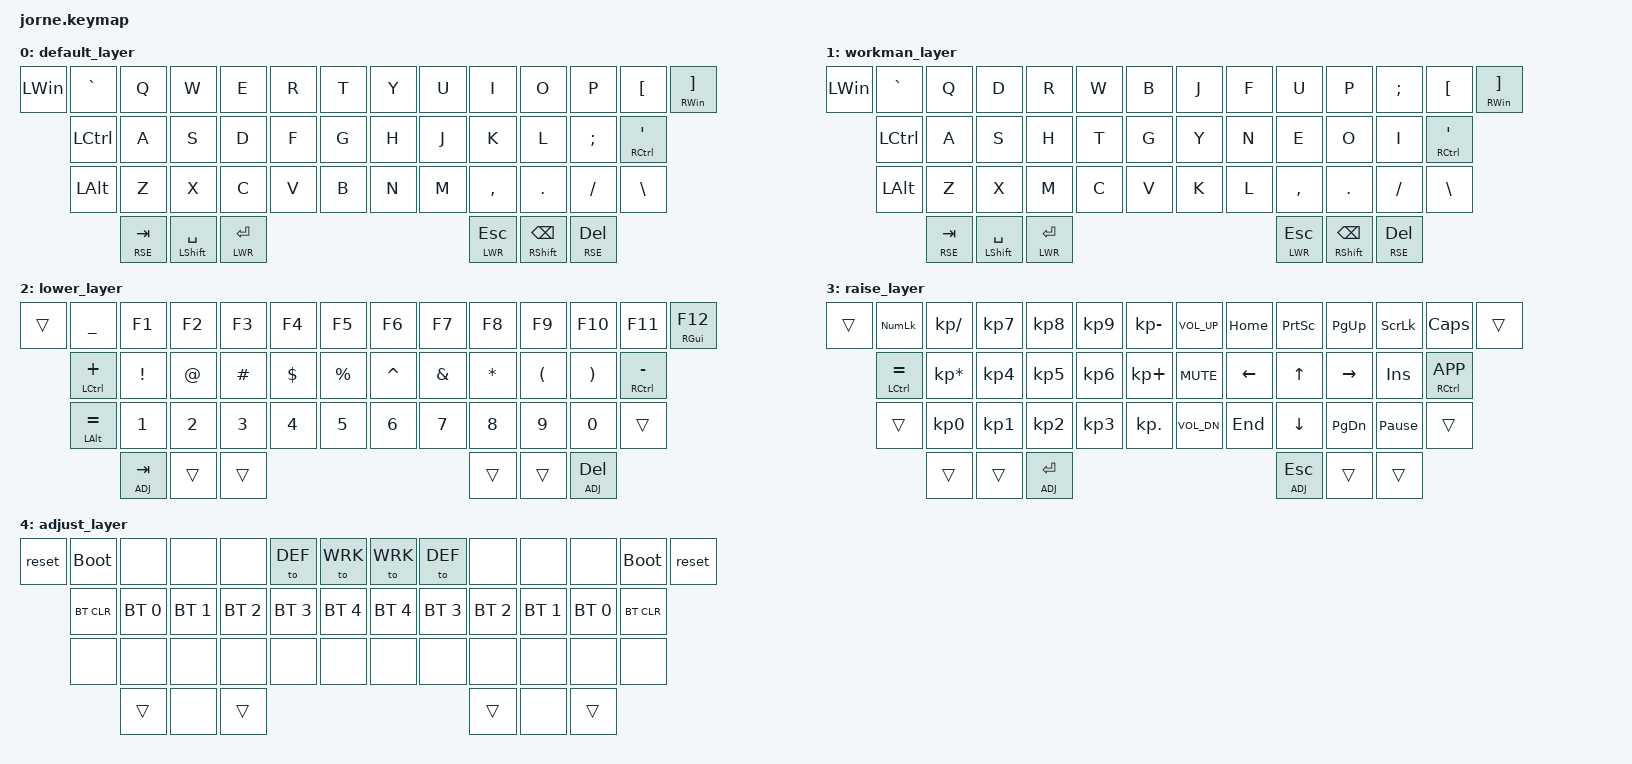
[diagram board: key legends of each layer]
/*
 * Copyright (c) 2020 The ZMK Contributors
 *
 * SPDX-License-Identifier: MIT
 */

#include <behaviors.dtsi>
#include <dt-bindings/zmk/keys.h>
#include <dt-bindings/zmk/bt.h>

#define DEF 0

#define LWR 2
#define RSE 3
#define ADJ 4

#define QWE DEF
#define WRK 1

/ {
        keymap {
                compatible = "zmk,keymap";

                default_layer {
// -----------------------------------------------------------------------------------------
// |  GUI |   ~  |  Q  |  W  |  E  |  R  |  T  |   |  Y  |  U   |  I  |  O  |  P  |  [   | GUI/] |
//        | CTRL |  A  |  S  |  D  |  F  |  G  |   |  H  |  J   |  K  |  L  |  ;  |CTRL/'|
//        | LALT |  Z  |  X  |  C  |  V  |  B  |   |  N  |  M   |  ,  |  .  |  /  | RALT |
//                           | RSE | SPC | LWR |   | LWR | BKSP | RSE |
                        bindings = <
   &kp LWIN &kp GRAVE &kp Q &kp W &kp E &kp R &kp T &kp Y         &kp U  &kp I     &kp O   &kp P    &kp LBKT &mt RWIN RBKT
            &kp LCTRL &kp A &kp S &kp D &kp F &kp G &kp H         &kp J  &kp K     &kp L   &kp SEMI &mt RCTRL SQT
            &kp LALT  &kp Z &kp X &kp C &kp V &kp B &kp N         &kp M  &kp COMMA &kp DOT &kp FSLH &kp BSLH
                         &lt RSE TAB &mt LSHFT SPACE &lt LWR RET &lt LWR ESC &mt RSHFT BSPC &lt RSE DEL
                        >;
                };
		workman_layer {
// -----------------------------------------------------------------------------------------
// |  GUI |   ~  |  Q  |  D  |  R  |  W  |  B  |   |  J  |  F   |  U  |  P  |  ;  |  [   | GUI/] |
//        | CTRL |  A  |  S  |  H  |  T  |  G  |   |  Y  |  N   |  E  |  O  |  I  |CTRL/'|
//        | LALT |  Z  |  X  |  M  |  C  |  V  |   |  K  |  L   |  ,  |  .  |  /  | RALT |
//                           | RSE | SPC | LWR |   | LWR | BKSP | RSE |
                        bindings = <
   &kp LWIN &kp GRAVE &kp Q &kp D &kp R &kp W &kp B                &kp J &kp F  &kp U     &kp P   &kp SEMI &kp LBKT &mt RWIN RBKT
            &kp LCTRL &kp A &kp S &kp H &kp T &kp G                &kp Y &kp N  &kp E     &kp O   &kp I    &mt RCTRL SQT
            &kp LALT  &kp Z &kp X &kp M &kp C &kp V                &kp K &kp L  &kp COMMA &kp DOT &kp FSLH &kp BSLH
                  &lt RSE TAB &mt LSHFT SPACE &lt LWR RET    &lt LWR ESC &mt RSHFT BSPC &lt RSE DEL
                        >;
                };
                lower_layer {
// -----------------------------------------------------------------------------------------
// |     |  _  |  F1 |  F2 |  F3 |  F4 |  F5 |   |  F6 |  F7 |  F8 |  F9 | F10 | F11 | F12 |
//       |  +  |  !  |  @  |  #  |  $  |  %  |   |  ^  |  &  |  *  |  (  |  )  |  -  |
//       |  =  |  1  |  2  |  3  |  4  |  5  |   |  6  |  7  |  8  |  9  |  0  |     |
//                    | GUI |     | SPC |   | ENT |     | ALT |
                        bindings = <
   &trans &kp UNDER      &kp F1   &kp F2 &kp F3   &kp F4   &kp F5           &kp F6    &kp F7   &kp F8   &kp F9   &kp F10  &kp F11 &mt RGUI F12
          &mt LCTRL PLUS &kp EXCL &kp AT &kp HASH &kp DLLR &kp PRCNT        &kp CARET &kp AMPS &kp STAR &kp LPAR &kp RPAR &mt RCTRL MINUS
          &mt LALT EQUAL &kp N1   &kp N2 &kp N3   &kp N4   &kp N5           &kp N6    &kp N7   &kp N8   &kp N9   &kp N0   &trans
                                              &lt ADJ TAB &trans &trans   &trans &trans &lt ADJ DEL
                        >;
                };

                raise_layer {
// -----------------------------------------------------------------------------------------
// |     | NMLK |  /  |  7  |  8  |  9  |  -  |   | VOLU| HOME| PRSC| PGUP| SCLK| CLCK|     |
//       | CTRL |  *  |  4  |  5  |  6  |  +  |   | MUT | LEFT|  UP | RGHT| INS | APP |
//       |      |  0  |  1  |  2  |  3  |  .  |   | VOLD| END | DOWN| PGDN| PAUS|     |
//                          |     |     | ADJ |   | ADJ |     |     |
                        bindings = <
   &trans &kp KP_NUM      &kp KP_SLASH    &kp KP_N7 &kp KP_N8 &kp KP_N9 &kp KP_MINUS        &kp C_VOL_UP &kp HOME &kp PSCRN &kp PG_UP &kp SLCK &kp CAPS &trans
          &mt LCTRL EQUAL &kp KP_MULTIPLY &kp KP_N4 &kp KP_N5 &kp KP_N6 &kp KP_PLUS         &kp C_MUTE   &kp LEFT &kp UP    &kp RIGHT &kp INS  &mt RCTRL K_APP
          &trans          &kp KP_N0       &kp KP_N1 &kp KP_N2 &kp KP_N3 &kp KP_DOT          &kp C_VOL_DN &kp END  &kp DOWN  &kp PG_DN &kp PAUSE_BREAK &trans
                                                           &trans &trans &lt ADJ RET   &lt ADJ ESC &trans &trans
                        >;
                };
                adjust_layer {
// -----------------------------------------------------------------------------------------
// | RST | BLDR |     |     |     | QWE | WRK |   | WRK | QWE |     |     |     | BLDR | RST |
//       | BTCLR| BT0 | BT1 | BT2 | BT3 | BT4 |   | BT4 | BT3 | BT2 | BT1 | BT0 | BTCLR|
//       |      |     |     |     |     |     |   |     |     |     |     |     |      |
//                          |     |     |     |   |     |     |     |
                        bindings = <
   &reset &bootloader  &none        &none        &none        &to QWE      &to WRK            &to WRK      &to QWE      &none        &none        &none         &bootloader &reset
          &bt BT_CLR   &bt BT_SEL 0 &bt BT_SEL 1 &bt BT_SEL 2 &bt BT_SEL 3 &bt BT_SEL 4       &bt BT_SEL 4 &bt BT_SEL 3 &bt BT_SEL 2 &bt BT_SEL 1 &bt BT_SEL 0  &bt BT_CLR
          &none        &none        &none        &none        &none        &none              &none        &none        &none        &none        &none         &none
                                                                    &trans &none &trans   &trans &none &trans
                        >;
                };
        };
};
